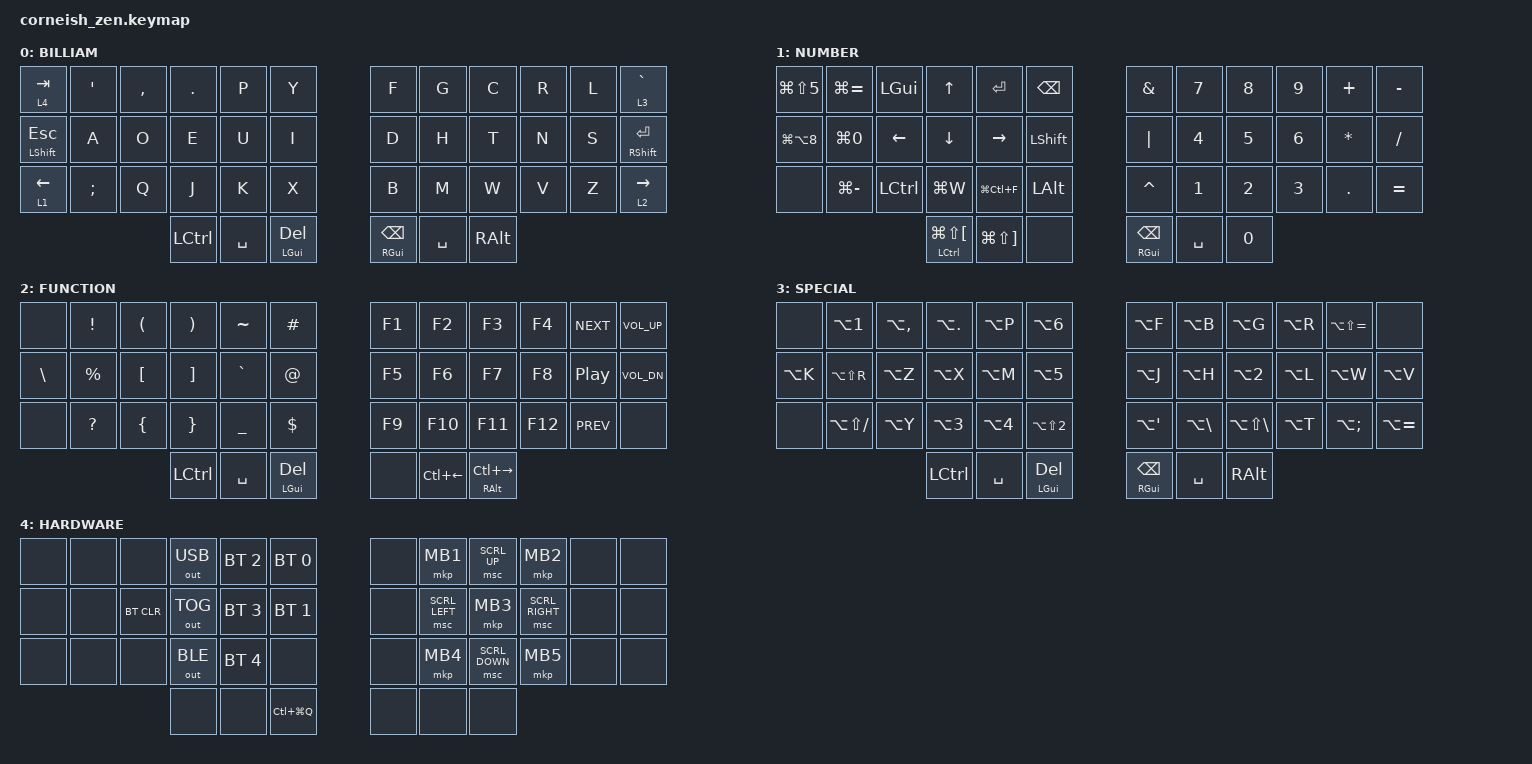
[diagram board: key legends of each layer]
#include <behaviors.dtsi>
#include <dt-bindings/zmk/keys.h>
#include <dt-bindings/zmk/bt.h>
#include <dt-bindings/zmk/outputs.h>
#include <dt-bindings/zmk/pointing.h>

#define DEFAULT 0
#define NMBR 1
#define FUNC 2
#define SPEC 3
#define HARD 4

/ {
  chosen {
    zmk,matrix_transform = &default_transform;
  };
};

// timing config
  &mt {
    flavor = "hold-preferred";
    tapping-term-ms = <150>;
    quick-tap-ms = <150>;
  };
  &lt {
    flavor = "hold-preferred";
    tapping-term-ms = <150>;
    quick-tap-ms = <150>;
  };

/ {
        keymap {
                compatible = "zmk,keymap";

                default_layer {
                        label = "BILLIAM";
                        bindings = <
//|-------------|--------|---------|-------|-----|-----| |-----|-----|-----|-----|-----|-------------|
   &lt 4 TAB     &kp SQT  &kp COMMA &kp DOT &kp P &kp Y   &kp F &kp G &kp C &kp R &kp L &lt 3 GRAVE
//|-------------|--------|---------|-------|-----|-----| |-----|-----|-----|-----|-----|-------------|
   &mt LSHFT ESC &kp A    &kp O     &kp E   &kp U &kp I   &kp D &kp H &kp T &kp N &kp S &mt RSHFT RET
//|-------------|--------|---------|-------|-----|-----| |-----|-----|-----|-----|-----|-------------|
   &lt 1 LEFT    &kp SEMI &kp Q     &kp J   &kp K &kp X   &kp B &kp M &kp W &kp V &kp Z &lt 2 RIGHT
//|-------------|--------|---------|-------|-----|-----| |-----|-----|-----|-----|-----|-------------|

//                    |---------|---------|------------| |-------------|---------|--------|
                       &kp LCTRL &kp SPACE &mt LGUI DEL   &mt RGUI BSPC &kp SPACE &kp RALT
//                    |---------|---------|------------| |-------------|---------|--------|
                        >;
                };
// NOTE: bottom left
                nmbr_layer {
                        label = "NUMBER";
                        bindings = <
//|--------------|-------------|---------|---------|-------------|---------|  |---------|------|------|------|--------|-------------|
   &kp LG(LS(N5)) &kp LG(EQUAL) &kp LGUI  &kp UP    &kp RET       &kp BSPC     &kp AMPS  &kp N7 &kp N8 &kp N9 &kp PLUS &kp MINUS
//|--------------|-------------|---------|---------|-------------|---------|  |---------|------|------|------|--------|-------------|
   &kp LG(LA(N8)) &kp LG(N0)    &kp LEFT  &kp DOWN  &kp RIGHT     &kp LSHFT    &kp PIPE  &kp N4 &kp N5 &kp N6 &kp STAR &kp FSLH
//|--------------|-------------|---------|---------|-------------|---------|  |---------|------|------|------|--------|-------------|
   &none          &kp LG(MINUS) &kp LCTRL &kp LG(W) &kp LG(LC(F)) &kp LALT     &kp CARET &kp N1 &kp N2 &kp N3 &kp DOT  &kp EQUAL
//|--------------|-------------|---------|---------|-------------|---------|  |---------|------|------|------|--------|-------------|

//             |----------------------|----------------|-----|  |--------------|-----------|--------|
                &mt LCTRL LG(LS(LBKT)) &kp LG(LS(RBKT)) &none    &mt RGUI BSPC  &kp SPACE   &kp N0
//             |----------------------|----------------|-----|  |--------------|-----------|--------|
                        >;
                };

// NOTE: bottom right
                func_layer {
                        label = "FUNCTION";
                        bindings = <

//|---------|---------|--------|--------|---------|--------| |------|-------|-------|-------|----------|-------------|
   &none     &kp EXCL  &kp LPAR &kp RPAR &kp TILDE &kp HASH   &kp F1 &kp F2  &kp F3  &kp F4  &kp C_NEXT &kp C_VOL_UP
//|---------|---------|--------|--------|---------|--------| |------|-------|-------|-------|----------|-------------|
   &kp BSLH  &kp PRCNT &kp LBKT &kp RBKT &kp GRAVE &kp AT     &kp F5 &kp F6  &kp F7  &kp F8  &kp C_PP   &kp C_VOL_DN
//|---------|---------|--------|--------|---------|--------| |------|-------|-------|-------|----------|-------------|
   &none     &kp QMARK &kp LBRC &kp RBRC &kp UNDER &kp DLLR   &kp F9 &kp F10 &kp F11 &kp F12 &kp C_PREV &none
//|---------|---------|--------|--------|---------|--------| |------|-------|-------|-------|----------|-------------|

//             |-----------|-----------|------------|  |--------|--------------|------------------|
                  &kp LCTRL &kp SPACE   &mt LGUI DEL    &none    &kp LC(LEFT)   &mt RALT LC(RIGHT)
//             |-----------|-----------|------------|  |--------|--------------|------------------|
                        >;
                };

// NOTE: top right
                spec_layer {
                        label = "SPECIAL";
                        bindings = <
//|---------|----------------|-------------|-----------|----------|-------------| |------------|------------|----------------|---------|-----------------|-------------|
   &none     &kp LA(N1)       &kp LA(COMMA) &kp LA(DOT) &kp LA(P)  &kp LA(N6)      &kp LA(F)    &kp LA(B)    &kp LA(G)        &kp LA(R) &kp LA(LS(EQUAL)) &none
//|---------|----------------|-------------|-----------|----------|-------------| |------------|------------|----------------|---------|-----------------|-------------|
   &kp LA(K) &kp LA(LS(R))    &kp LA(Z)     &kp LA(X)   &kp LA(M)  &kp LA(N5)      &kp LA(J)    &kp LA(H)    &kp LA(N2)       &kp LA(L) &kp LA(W)         &kp LA(V)
//|---------|----------------|-------------|-----------|----------|-------------| |------------|------------|----------------|---------|-----------------|-------------|
   &none     &kp LA(LS(FSLH)) &kp LA(Y)     &kp LA(N3)  &kp LA(N4) &kp LA(LS(N2))  &kp LA(SQT)  &kp LA(BSLH) &kp LA(LS(BSLH)) &kp LA(T) &kp LA(SEMI)      &kp LA(EQUAL)
//|---------|----------------|-------------|-----------|----------|-------------| |------------|------------|----------------|---------|-----------------|-------------|

//             |----------|-----------|------------|  |---------------|------------|------------------|
                 &kp LCTRL &kp SPACE   &mt LGUI DEL    &mt RGUI BSPC   &kp SPACE    &kp RALT
//             |----------|-----------|------------|  |---------------|------------|------------------|
                        >;
                };

// NOTE: top left
                hard_layer {
                        label = "HARDWARE";
                        bindings = <
//|-----|-----|----------|------------|------------|------------| |-----|----------------|----------------|-----------------|-----|-------|
   &none &none &none      &out OUT_USB &bt BT_SEL 2 &bt BT_SEL 0   &none &mkp MB1         &msc SCRL_UP     &mkp MB2          &none &none
//|-----|-----|----------|------------|------------|------------| |-----|----------------|----------------|-----------------|-----|-------|
   &none &none &bt BT_CLR &out OUT_TOG &bt BT_SEL 3 &bt BT_SEL 1   &none &msc SCRL_LEFT   &mkp MB3         &msc SCRL_RIGHT   &none &none
//|-----|-----|----------|------------|------------|------------| |-----|----------------|----------------|-----------------|-----|-------|
   &none &none &none      &out OUT_BLE &bt BT_SEL 4 &none          &none &mkp MB4         &msc SCRL_DOWN   &mkp MB5          &none &none
//|-----|-----|----------|------------|------------|------------| |-----|----------------|----------------|-----------------|-----|-------|

//                        |-----|-----|------------|  |-----|-----|-----|
                           &none &none &kp LC(LG(Q))   &none &none &none
//                        |-----|-----|------------|  |-----|-----|-----|
                        >;
                };
        };
};
